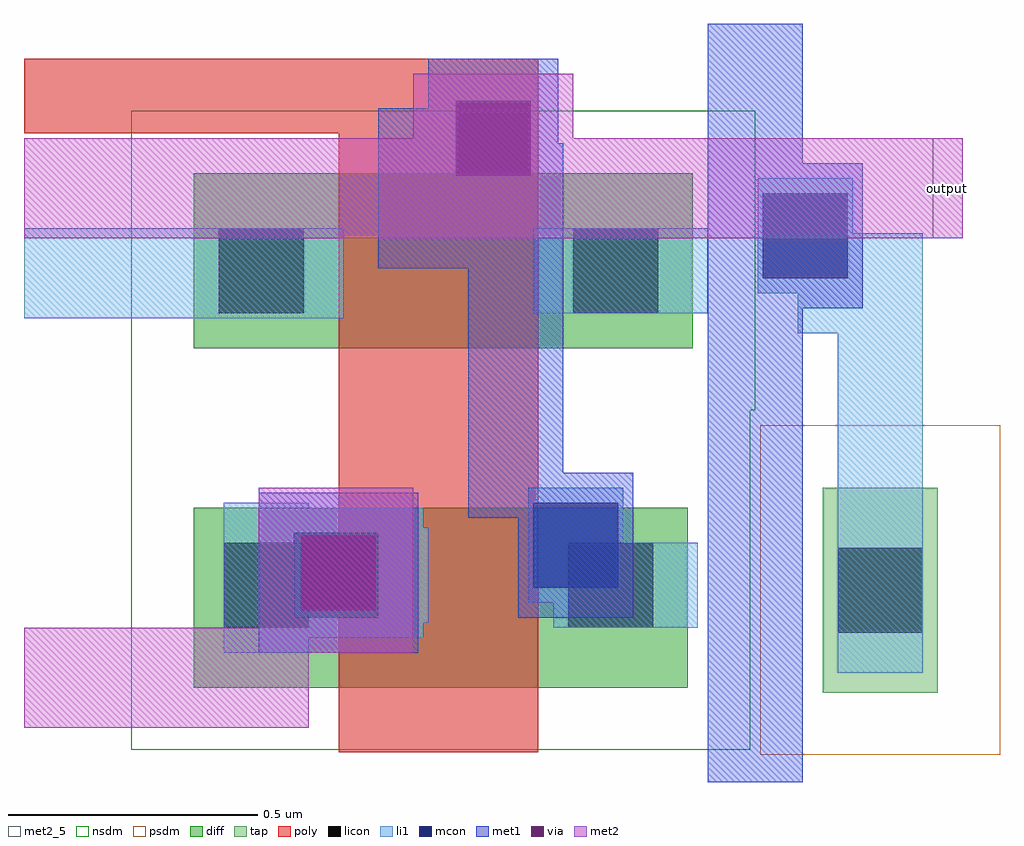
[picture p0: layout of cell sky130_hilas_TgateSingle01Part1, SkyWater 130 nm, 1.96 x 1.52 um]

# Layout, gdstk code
import gdstk
lib = gdstk.Library(unit=1e-6, precision=1e-09)
def R(c, l, rs):  # rectangles x0, y0, x1, y1
    for r in rs: c.add(gdstk.rectangle(r[:2], r[2:], *l))
diff = (65, 20)
tap = (65, 44)
poly = (66, 20)
licon = (66, 44)
li1 = (67, 20)
mcon = (67, 44)
met1 = (68, 20)
via = (68, 44)
met2_5 = (69, 5)
met2 = (69, 20)
nsdm = (93, 44)
psdm = (94, 20)

sky130_hilas_m12m2 = lib.new_cell('sky130_hilas_m12m2')
R(sky130_hilas_m12m2, met1, [(0.03,0,0.29,0.32)])
R(sky130_hilas_m12m2, via, [(0.085,0.085,0.235,0.235)])
R(sky130_hilas_m12m2, met2, [(0,0.03,0.32,0.29)])

sky130_hilas_li2m2 = lib.new_cell('sky130_hilas_li2m2')
R(sky130_hilas_li2m2, li1, [(0.01,0.03,0.33,0.06), (0.01,0.06,0.34,0.25), (0.01,0.25,0.33,0.29)])
R(sky130_hilas_li2m2, mcon, [(0.07,0.07,0.24,0.24)])
R(sky130_hilas_li2m2, met1, [(0,0,0.32,0.32)])
R(sky130_hilas_li2m2, via, [(0.085,0.085,0.235,0.235)])
R(sky130_hilas_li2m2, met2, [(0,0,0.31,0.33)])

sky130_hilas_li2m1 = lib.new_cell('sky130_hilas_li2m1')
R(sky130_hilas_li2m1, li1, [(0.02,0.03,0.21,0.26)])
R(sky130_hilas_li2m1, mcon, [(0.03,0.06,0.2,0.23)])
R(sky130_hilas_li2m1, met1, [(0,0,0.23,0.29)])

sky130_hilas_tgatesingle = lib.new_cell('sky130_hilas_TgateSingle01Part1')
R(sky130_hilas_tgatesingle, diff, [(0.34,0.19,1.33,0.55), (0.34,0.87,1.34,1.22)])
R(sky130_hilas_tgatesingle, tap, [(1.6,0.18,1.83,0.59)])
R(sky130_hilas_tgatesingle, poly, [(0.63,0.06,1.03,1.3), (0,1.3,1.03,1.45)])
R(sky130_hilas_tgatesingle, licon, [(1.63,0.3,1.8,0.47), (0.4,0.31,0.57,0.48), (1.09,0.31,1.26,0.48), (0.39,0.94,0.56,1.11), (1.1,0.94,1.27,1.11)])
R(sky130_hilas_tgatesingle, li1, [(1.63,0.22,1.8,0.9), (0.4,0.26,0.57,0.56), (1.06,0.31,1.35,0.48), (1.55,0.9,1.8,1.1), (0,0.93,0.64,1.11), (1.02,0.94,1.37,1.11)])
R(sky130_hilas_tgatesingle, met1, [(1.37,0,1.56,1.52), (0.89,0.53,1.08,1.03), (0.71,1.03,1.08,1.28), (0.71,1.28,0.98,1.35)])
R(sky130_hilas_tgatesingle, met2_5, [(1.82,1.09,1.88,1.29)])
R(sky130_hilas_tgatesingle, met2, [(0,0.11,0.57,0.31), (0,1.09,1.88,1.29)])
R(sky130_hilas_tgatesingle, nsdm, [(0.215,0.065,1.455,0.745), (0.215,0.745,1.465,1.345)])
R(sky130_hilas_tgatesingle, psdm, [(1.475,0.055,1.955,0.715)])
sky130_hilas_tgatesingle.add(gdstk.Reference(sky130_hilas_m12m2, (0.78,1.13)))
sky130_hilas_tgatesingle.add(gdstk.Reference(sky130_hilas_li2m2, (0.47,0.26)))
sky130_hilas_tgatesingle.add(gdstk.Reference(sky130_hilas_li2m1, (1.45,0.95)))
sky130_hilas_tgatesingle.add(gdstk.Reference(sky130_hilas_li2m1, (0.99,0.33)))
sky130_hilas_tgatesingle.add(gdstk.Label('output', (1.85,1.19), layer=69, texttype=5))

lib.write_gds('sky130_hilas_TgateSingle01Part1.gds')
